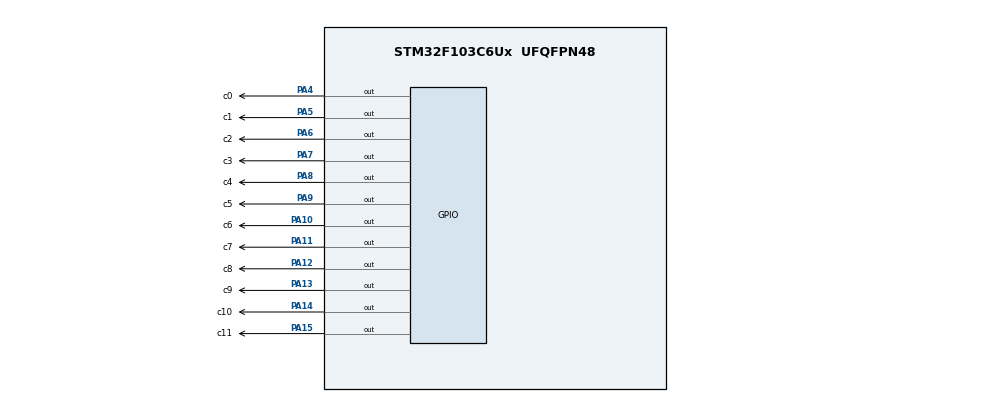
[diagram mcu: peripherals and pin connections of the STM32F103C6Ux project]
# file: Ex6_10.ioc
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Mcu.Family=STM32F1
Mcu.Name=STM32F103C6Ux
Mcu.Package=UFQFPN48
NVIC.PriorityGroup=NVIC_PRIORITYGROUP_4
PA10.GPIO_Label=c6
PA10.Signal=GPIO_Output
PA11.GPIO_Label=c7
PA11.Signal=GPIO_Output
PA12.GPIO_Label=c8
PA12.Signal=GPIO_Output
PA13.GPIO_Label=c9
PA13.Signal=GPIO_Output
PA14.GPIO_Label=c10
PA14.Signal=GPIO_Output
PA15.GPIO_Label=c11
PA15.Signal=GPIO_Output
PA4.GPIO_Label=c0
PA4.Signal=GPIO_Output
PA5.GPIO_Label=c1
PA5.Signal=GPIO_Output
PA6.GPIO_Label=c2
PA6.Signal=GPIO_Output
PA7.GPIO_Label=c3
PA7.Signal=GPIO_Output
PA8.GPIO_Label=c4
PA8.Signal=GPIO_Output
PA9.GPIO_Label=c5
PA9.Signal=GPIO_Output
ProjectManager.HeapSize=0x200
ProjectManager.StackSize=0x400
ProjectManager.TargetToolchain=STM32CubeIDE
RCC.APB1Freq_Value=8000000
RCC.APB2Freq_Value=8000000
board=custom

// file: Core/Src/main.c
/* USER CODE BEGIN Header */
/**
  ******************************************************************************
  * @file           : main.c
  * @brief          : Main program body
  ******************************************************************************
  * @attention
  *
  * Copyright (c) 2022 STMicroelectronics.
  * All rights reserved.
  *
  * This software is licensed under terms that can be found in the LICENSE file
  * in the root directory of this software component.
  * If no LICENSE file comes with this software, it is provided AS-IS.
  *
  ******************************************************************************
  */
/* USER CODE END Header */
#include "main.h"

/* USER CODE BEGIN PV */
uint16_t clockNumber[12] = {0x0010, 0x0020, 0x0040, 0x0080,
							0x0100, 0x0200, 0x0400, 0x0800,
							0x1000, 0x2000, 0x4000, 0x8000};
/* USER CODE END PV */

void SystemClock_Config(void);
static void MX_GPIO_Init(void);
/* USER CODE BEGIN PFP */

void DisplayNumber(int number);
void ClearAllClock();
void SetNumberOnClock(int number);
void ClearNumberOnClock(int number);
void DisplayClock(int hour, int min, int sec);

/* USER CODE END PFP */

int main(void)
{

  /* MCU Configuration--------------------------------------------------------*/

  /* Reset of all peripherals, Initializes the Flash interface and the Systick. */
  HAL_Init();

  /* USER CODE BEGIN Init */
  //int number = 0;
  int hour = 0, min = 0, sec = 0;
  /* USER CODE END Init */

  /* Configure the system clock */
  SystemClock_Config();

  /* Initialize all configured peripherals */
  MX_GPIO_Init();
  /* USER CODE BEGIN 2 */
  hour = min = sec = 0;
  int counter = 0;
  /* USER CODE END 2 */

  /* Infinite loop */
  /* USER CODE BEGIN WHILE */
  while (1)
 {
	  if(counter > 11) counter = 0;
	  GPIOA->BSRR = clockNumber[counter++];
	  HAL_Delay(500);

    /* USER CODE END WHILE */

  }
}

void SystemClock_Config(void)
{
  RCC_OscInitTypeDef RCC_OscInitStruct = {0};
  RCC_ClkInitTypeDef RCC_ClkInitStruct = {0};

  /** Initializes the RCC Oscillators according to the specified parameters
  * in the RCC_OscInitTypeDef structure.
  */
  RCC_OscInitStruct.OscillatorType = RCC_OSCILLATORTYPE_HSI;
  RCC_OscInitStruct.HSIState = RCC_HSI_ON;
  RCC_OscInitStruct.HSICalibrationValue = RCC_HSICALIBRATION_DEFAULT;
  RCC_OscInitStruct.PLL.PLLState = RCC_PLL_NONE;
  if (HAL_RCC_OscConfig(&RCC_OscInitStruct) != HAL_OK)
  {
    Error_Handler();
  }

  /** Initializes the CPU, AHB and APB buses clocks
  */
  RCC_ClkInitStruct.ClockType = RCC_CLOCKTYPE_HCLK|RCC_CLOCKTYPE_SYSCLK
                              |RCC_CLOCKTYPE_PCLK1|RCC_CLOCKTYPE_PCLK2;
  RCC_ClkInitStruct.SYSCLKSource = RCC_SYSCLKSOURCE_HSI;
  RCC_ClkInitStruct.AHBCLKDivider = RCC_SYSCLK_DIV1;
  RCC_ClkInitStruct.APB1CLKDivider = RCC_HCLK_DIV1;
  RCC_ClkInitStruct.APB2CLKDivider = RCC_HCLK_DIV1;

  if (HAL_RCC_ClockConfig(&RCC_ClkInitStruct, FLASH_LATENCY_0) != HAL_OK)
  {
    Error_Handler();
  }
}

static void MX_GPIO_Init(void)
{
  GPIO_InitTypeDef GPIO_InitStruct = {0};

  /* GPIO Ports Clock Enable */
  __HAL_RCC_GPIOA_CLK_ENABLE();

  /*Configure GPIO pin Output Level */
  HAL_GPIO_WritePin(GPIOA, c0_Pin|c1_Pin|c2_Pin|c3_Pin
                          |c4_Pin|c5_Pin|c6_Pin|c7_Pin
                          |c8_Pin|c9_Pin|c10_Pin|c11_Pin, GPIO_PIN_RESET);

  /*Configure GPIO pins : c0_Pin c1_Pin c2_Pin c3_Pin
                           c4_Pin c5_Pin c6_Pin c7_Pin
                           c8_Pin c9_Pin c10_Pin c11_Pin */
  GPIO_InitStruct.Pin = c0_Pin|c1_Pin|c2_Pin|c3_Pin
                          |c4_Pin|c5_Pin|c6_Pin|c7_Pin
                          |c8_Pin|c9_Pin|c10_Pin|c11_Pin;
  GPIO_InitStruct.Mode = GPIO_MODE_OUTPUT_PP;
  GPIO_InitStruct.Pull = GPIO_NOPULL;
  GPIO_InitStruct.Speed = GPIO_SPEED_FREQ_LOW;
  HAL_GPIO_Init(GPIOA, &GPIO_InitStruct);

}

/* USER CODE BEGIN 4 */
void DisplayNumber(int number){
	if(number >= 0 && number <= 11) GPIOA->BSRR = clockNumber[number];
}

void ClearAllClock(){
	GPIOA->ODR = 0x0000;
}

void SetNumberOnClock(int number){
	if(number >= 0 && number <= 11) GPIOA->BSRR = clockNumber[number];
}

void ClearNumberOnClock(int number){
	if(number >= 0 && number <= 11) GPIOA->BRR= clockNumber[number];
}

void DisplayClock(int hour, int min, int sec){
	ClearAllClock();
	//hour = 0 1 2 3 4 5 6 7 8 9 10 11
	//min, sec = 0 5 10 15 20 25 30 35 40 45 50 55
	SetNumberOnClock(hour);
	SetNumberOnClock(min/5);
	SetNumberOnClock(sec/5);
}

/* USER CODE END 4 */

void Error_Handler(void)
{
  __disable_irq();
  while (1)
  {
  }
}
